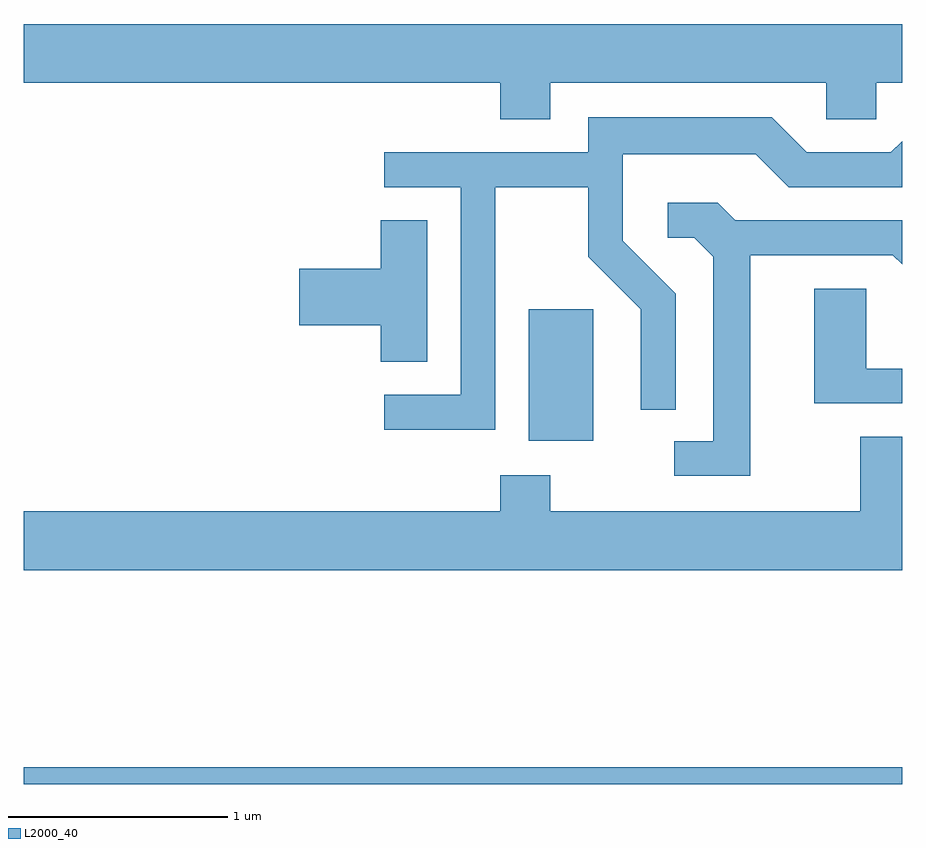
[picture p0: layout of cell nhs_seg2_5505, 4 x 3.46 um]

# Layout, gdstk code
import gdstk
lib = gdstk.Library(unit=1e-6, precision=1e-09)
def R(c, l, rs):  # rectangles x0, y0, x1, y1
    for r in rs: c.add(gdstk.rectangle(r[:2], r[2:], *l))
def P(c, l, *ps):  # polygons
    for p in ps: c.add(gdstk.Polygon(p, *l))
L2000_40 = (2000, 40)

nhs_seg2_5505 = lib.new_cell('nhs_seg2_5505')
R(nhs_seg2_5505, L2000_40, [(347.611,1031.802,351.611,1031.879), (349.911,1033.366,350.204,1033.964)])
P(nhs_seg2_5505, L2000_40, [(350.009,1034.996),(351.266,1034.996),(351.266,1034.831),(351.494,1034.831),(351.494,1034.996),(351.611,1034.996),(351.611,1035.264),(347.611,1035.264),(347.611,1034.996),(349.781,1034.996),(349.781,1034.831),(350.009,1034.831)],
  [(349.759,1034.521),(350.181,1034.521),(350.181,1034.204),(350.421,1033.964),(350.421,1033.507),(350.579,1033.507),(350.579,1034.036),(350.339,1034.277),(350.339,1034.671),(350.944,1034.671),(351.094,1034.521),(351.611,1034.521),(351.611,1034.731),(351.559,1034.679),(351.177,1034.679),(351.017,1034.839),(350.181,1034.839),(350.181,1034.679),(349.253,1034.679),(349.253,1034.521),(349.601,1034.521),(349.601,1033.574),(349.253,1033.574),(349.253,1033.416),(349.759,1033.416)],
  [(350.919,1034.211),(351.569,1034.211),(351.611,1034.169),(351.611,1034.369),(350.852,1034.369),(350.772,1034.449),(350.543,1034.449),(350.543,1034.291),(350.664,1034.291),(350.751,1034.204),(350.751,1033.364),(350.573,1033.364),(350.573,1033.206),(350.919,1033.206)],
  [(349.449,1034.369),(349.236,1034.369),(349.236,1034.149),(348.866,1034.149),(348.866,1033.891),(349.236,1033.891),(349.236,1033.726),(349.449,1033.726)],
  [(351.611,1033.694),(351.449,1033.694),(351.449,1034.059),(351.211,1034.059),(351.211,1033.536),(351.611,1033.536)],
  [(351.611,1033.384),(351.421,1033.384),(351.421,1033.044),(350.009,1033.044),(350.009,1033.209),(349.781,1033.209),(349.781,1033.044),(347.611,1033.044),(347.611,1032.776),(351.611,1032.776)])

lib.write_gds('nhs_seg2_5505.gds')
